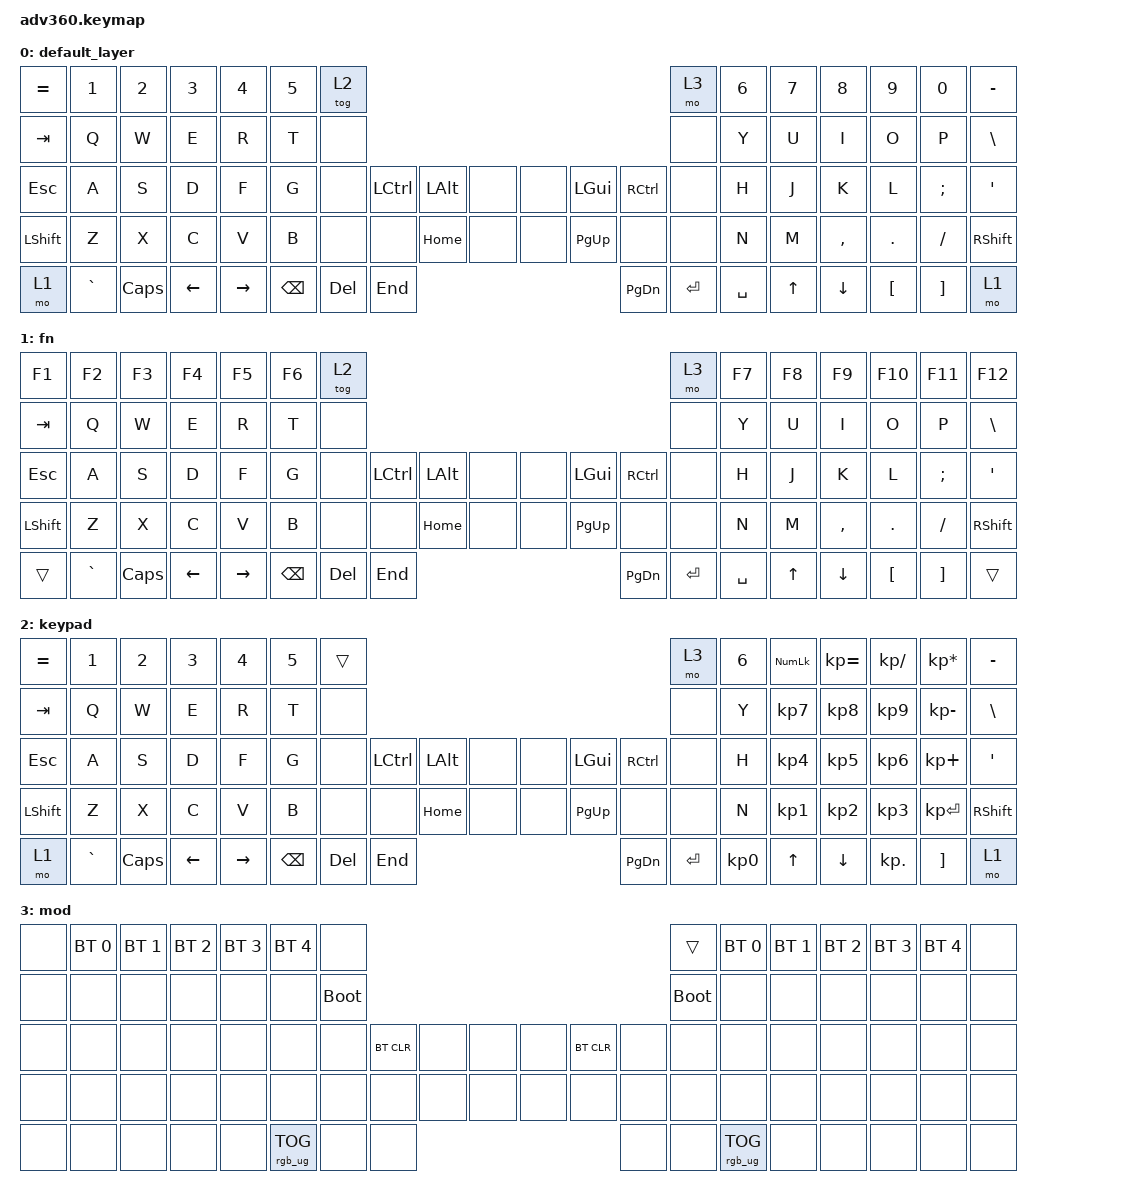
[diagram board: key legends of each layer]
#include <behaviors.dtsi>
#include <dt-bindings/zmk/keys.h>
#include <dt-bindings/zmk/bt.h>
#include <dt-bindings/zmk/rgb.h>

/ {
  keymap {
    compatible = "zmk,keymap";

    default_layer {
        // ------------------------------------------------------------------------------------------
        // | ESC |  1  |  2  |  3  |  4  |  5  |  6  |  7  |  8  |  9  |  0  |  -  |  =  |   BKSP   |
        // | TAB  |  Q  |  W  |  E  |  R  |  T  |  Y  |  U  |  I  |  O  |  P  |  [  |  ]  |         |
        // | CAPS  |  A  |  S  |  D  |  F  |  G  |  H  |  J  |  K  |  L  |  ;  |  '  |  #   | ENTER |
        // |  SHIFT | |  |  Z  |  X  |  C  |  V  |  B  |  N  |  M  |  ,  |  .  | /   |     SHIFT    |
        // |  CTL  |  WIN  |  ALT  |                     SPACE        |   ALT   |  1  | MENU | CTRL |
        // ------------------------------------------------------------------------------------------
      bindings = <
        &kp EQUAL &kp N1    &kp N2   &kp N3   &kp N4     &kp N5 &tog 2                                                                       &mo 3 &kp N6 &kp N7 &kp N8    &kp N9   &kp N0   &kp MINUS
        &kp TAB   &kp Q     &kp W    &kp E    &kp R      &kp T  &none                                                                        &none &kp Y  &kp U  &kp I     &kp O    &kp P    &kp BSLH
        &kp ESC   &kp A     &kp S    &kp D    &kp F      &kp G  &none           &kp LCTRL &kp LALT &none &none &kp LGUI  &kp RCTRL           &none &kp H  &kp J  &kp K     &kp L    &kp SEMI &kp SQT
        &kp LSHFT &kp Z     &kp X    &kp C    &kp V      &kp B        &none     &none     &kp HOME &none &none &kp PG_UP &none     &none            &kp N  &kp M  &kp COMMA &kp DOT  &kp FSLH &kp RSHFT
        &mo 1     &kp GRAVE &kp CAPS &kp LEFT &kp RIGHT               &kp BKSP  &kp DEL   &kp END              &kp PG_DN &kp ENTER &kp SPACE               &kp UP &kp DOWN  &kp LBKT &kp RBKT &mo 1
        >;
    };
    fn {
      bindings = <
        &kp F1    &kp F2    &kp F3    &kp F4   &kp F5    &kp F6 &tog 2                                                                       &mo 3 &kp F7 &kp F8 &kp F9    &kp F10  &kp F11  &kp F12
        &kp TAB   &kp Q     &kp W    &kp E    &kp R      &kp T  &none                                                                        &none &kp Y  &kp U  &kp I     &kp O    &kp P    &kp BSLH
        &kp ESC   &kp A     &kp S    &kp D    &kp F      &kp G  &none          &kp LCTRL &kp LALT &none &none &kp LGUI  &kp RCTRL            &none &kp H  &kp J  &kp K     &kp L    &kp SEMI &kp SQT
        &kp LSHFT &kp Z     &kp X    &kp C    &kp V      &kp B        &none    &none     &kp HOME &none &none &kp PG_UP &none     &none            &kp N  &kp M  &kp COMMA &kp DOT  &kp FSLH &kp RSHFT
        &trans    &kp GRAVE &kp CAPS &kp LEFT &kp RIGHT               &kp BKSP &kp DEL   &kp END              &kp PG_DN &kp ENTER &kp SPACE               &kp UP &kp DOWN  &kp LBKT &kp RBKT &trans
      >;
    };
    keypad {
      bindings = <
        &kp EQUAL &kp N1    &kp N2   &kp N3   &kp N4     &kp N5 &trans                                                                       &mo 3 &kp N6 &kp KP_NUM &kp KP_EQUAL &kp KP_DIVIDE &kp KP_MULTIPLY &kp MINUS
        &kp TAB   &kp Q     &kp W    &kp E    &kp R      &kp T  &none                                                                        &none &kp Y  &kp KP_N7  &kp KP_N8    &kp KP_N9     &kp KP_MINUS    &kp BSLH
        &kp ESC   &kp A     &kp S    &kp D    &kp F      &kp G  &none          &kp LCTRL &kp LALT &none &none &kp LGUI  &kp RCTRL            &none &kp H  &kp KP_N4  &kp KP_N5    &kp KP_N6     &kp KP_PLUS     &kp SQT
        &kp LSHFT &kp Z     &kp X    &kp C    &kp V      &kp B        &none    &none     &kp HOME &none &none &kp PG_UP &none     &none            &kp N  &kp KP_N1  &kp KP_N2    &kp KP_N3     &kp KP_ENTER    &kp RSHFT
        &mo 1     &kp GRAVE &kp CAPS &kp LEFT &kp RIGHT               &kp BKSP &kp DEL   &kp END              &kp PG_DN &kp ENTER &kp KP_N0               &kp UP     &kp DOWN     &kp KP_DOT    &kp RBKT         &mo 1
      >;
    };
    mod {
      bindings = <
        &none &bt BT_SEL 0 &bt BT_SEL 1 &bt BT_SEL 2 &bt BT_SEL 3 &bt BT_SEL 4 &none                                                                                   &trans        &bt BT_SEL 0 &bt BT_SEL 1 &bt BT_SEL 2 &bt BT_SEL 3 &bt BT_SEL 4 &none
        &none &none        &none        &none        &none        &none        &bootloader                                                                             &bootloader   &none        &none        &none        &none        &none        &none
        &none &none        &none        &none        &none        &none        &none                      &bt BT_CLR &none &none  &none &bt BT_CLR &none               &none         &none        &none        &none        &none        &none        &none
        &none &none        &none        &none        &none        &none                   &none           &none      &none &none  &none &none      &none      &none                  &none        &none        &none        &none        &none        &none
        &none &none        &none        &none        &none                                &rgb_ug RGB_TOG &none      &none              &none      &none      &rgb_ug RGB_TOG                     &none        &none        &none        &none        &none
      >;
    };
  };
};
